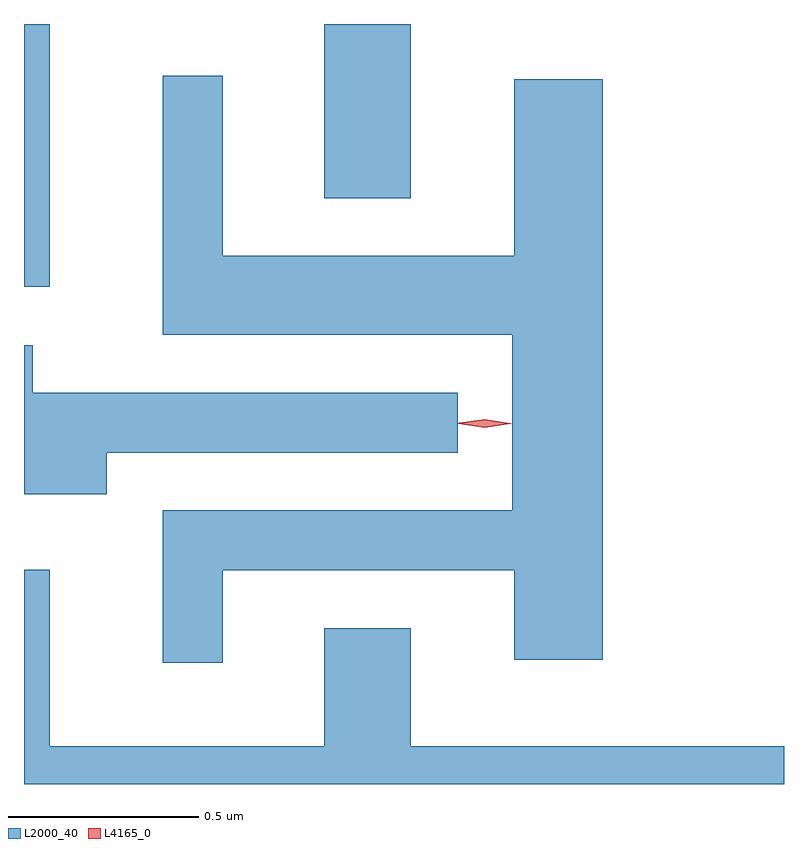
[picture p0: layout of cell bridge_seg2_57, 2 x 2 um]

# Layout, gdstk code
import gdstk
lib = gdstk.Library(unit=1e-6, precision=1e-09)
def R(c, l, rs):  # rectangles x0, y0, x1, y1
    for r in rs: c.add(gdstk.rectangle(r[:2], r[2:], *l))
def P(c, l, *ps):  # polygons
    for p in ps: c.add(gdstk.Polygon(p, *l))
L2000_40 = (2000, 40)
L4165_0 = (4165, 0)

bridge_seg2_57 = lib.new_cell('bridge_seg2_57')
R(bridge_seg2_57, L2000_40, [(1280.311,1029.813,1280.379,1030.504), (1281.101,1030.046,1281.329,1030.504)])
P(bridge_seg2_57, L2000_40, [(1280.834,1029.066),(1281.601,1029.066),(1281.601,1028.831),(1281.834,1028.831),(1281.834,1030.359),(1281.601,1030.359),(1281.601,1029.894),(1280.834,1029.894),(1280.834,1030.368),(1280.676,1030.368),(1280.676,1029.686),(1281.596,1029.686),(1281.596,1029.224),(1280.676,1029.224),(1280.676,1028.823),(1280.834,1028.823)],
  [(1280.529,1029.376),(1281.453,1029.376),(1281.453,1029.534),(1280.334,1029.534),(1280.334,1029.659),(1280.311,1029.659),(1280.311,1029.266),(1280.529,1029.266)],
  [(1282.311,1028.604),(1281.329,1028.604),(1281.329,1028.914),(1281.101,1028.914),(1281.101,1028.604),(1280.379,1028.604),(1280.379,1029.068),(1280.311,1029.068),(1280.311,1028.504),(1282.311,1028.504)])
P(bridge_seg2_57, L4165_0, [(1281.523,1029.442),(1281.454,1029.452),(1281.454,1029.452),(1281.454,1029.453),(1281.523,1029.462),(1281.592,1029.453),(1281.593,1029.452),(1281.592,1029.452)],
  [(1281.523,1029.444),(1281.457,1029.454),(1281.457,1029.455),(1281.457,1029.455),(1281.523,1029.464),(1281.589,1029.453),(1281.59,1029.452),(1281.589,1029.452)])

lib.write_gds('bridge_seg2_57.gds')
